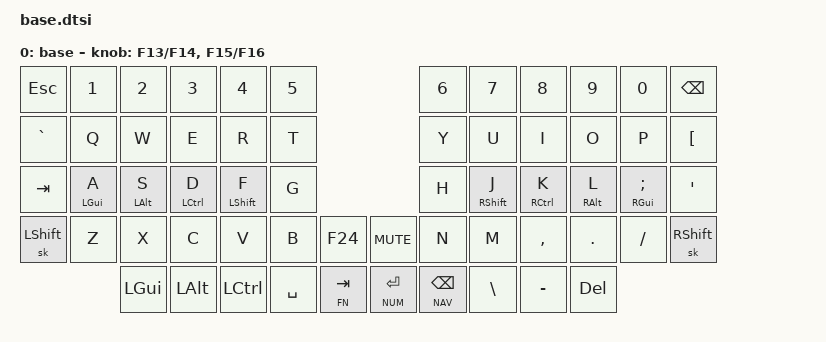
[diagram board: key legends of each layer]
/ {
    keymap {
        compatible = "zmk,keymap";

        base {
            display-name = "base";
            bindings = <
&kp ESC        &kp N1         &kp N2        &kp N3        &kp N4         &kp N5                                    &kp N6       &kp N7         &kp N8        &kp N9        &kp N0            &kp BSPC
&kp GRAVE      &kp Q          &kp W         &kp E         &kp R          &kp T                                     &kp Y        &kp U          &kp I         &kp O         &kp P             &kp LBKT
&kp TAB        &hmls LGUI A   &hmls LALT S  &hmlf LCTRL D &hmlf LSHFT F  &kp G                                     &kp H        &hmrf RSHFT J  &hmrf RCTRL K &hmrs RALT L  &hmrs RGUI SEMI   &kp SQT
&sk LSHFT      &kp Z          &kp X         &kp C         &kp V          &kp B        &kp F24        &kp C_MUTE    &kp N        &kp M          &kp COMMA     &kp DOT       &kp FSLH          &sk RSHFT 
                              &kp LGUI      &kp LALT      &kp LCTRL      &kp SPACE    &lt FN TAB     &lt NUM RET   &lt NAV BSPC &kp BSLH       &kp MINUS     &kp DEL  
            >;

            sensor-bindings = <&inc_dec_kp F13 F14 &inc_dec_kp F15 F16>;
        };
    };
};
